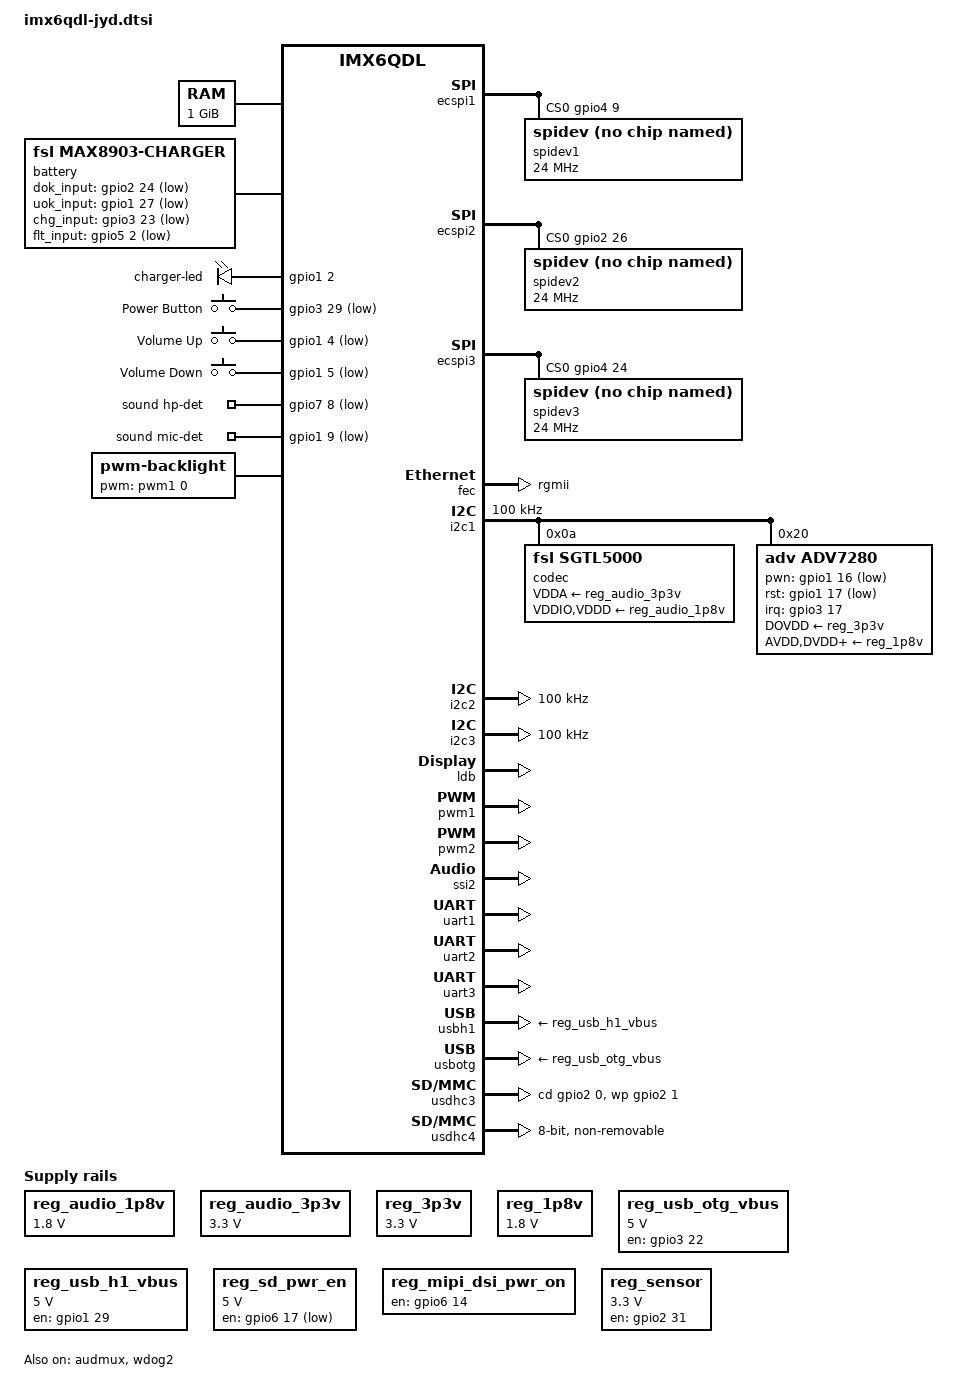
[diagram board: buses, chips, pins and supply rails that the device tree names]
/*
 * Copyright 2012 Freescale Semiconductor, Inc.
 * Copyright 2011 Linaro Ltd.
 *
 * The code contained herein is licensed under the GNU General Public
 * License. You may obtain a copy of the GNU General Public License
 * Version 2 or later at the following locations:
 *
 * http://www.opensource.org/licenses/gpl-license.html
 * http://www.gnu.org/copyleft/gpl.html
 */

/ {
	aliases {
		mxcfb0 = &mxcfb1;
		mxcfb1 = &mxcfb2;
		mxcfb2 = &mxcfb3;
		mxcfb3 = &mxcfb4;
	};

	memory {
		reg = <0x10000000 0x40000000>;
	};

	battery: max8903@0 {
		compatible = "fsl,max8903-charger";
		pinctrl-names = "default";
		dok_input = <&gpio2 24 1>;
		uok_input = <&gpio1 27 1>;
		chg_input = <&gpio3 23 1>;
		flt_input = <&gpio5 2 1>;
		fsl,dcm_always_high;
		fsl,dc_valid;
		fsl,usb_valid;
		status = "okay";
	};

	hannstar_cabc {
		compatible = "hannstar,cabc";

		lvds0 {
			gpios = <&gpio6 15 GPIO_ACTIVE_HIGH>;
		};

		lvds1 {
			gpios = <&gpio6 16 GPIO_ACTIVE_HIGH>;
		};
	};

	leds {
		compatible = "gpio-leds";

		charger-led {
			gpios = <&gpio1 2 0>;
			linux,default-trigger = "max8903-charger-charging";
			retain-state-suspended;
		};
	};

	regulators {
		compatible = "simple-bus";

		reg_audio_1p8v: sgtl5000_1p8v {
			compatible = "regulator-fixed";
			regulator-name = "audio_1P8V";
			regulator-min-microvolt = <1800000>;
			regulator-max-microvolt = <1800000>;
			regulator-always-on;
		};

		reg_audio_3p3v: sgtl5000_3p3v {
			compatible = "regulator-fixed";
			regulator-name = "audio_3P3V";
			regulator-min-microvolt = <3300000>;
			regulator-max-microvolt = <3300000>;
			regulator-always-on;
		};

		reg_3p3v: reg_3p3v {
			compatible = "regulator-fixed";
			regulator-name = "3P3V";
			regulator-min-microvolt = <3300000>;
			regulator-max-microvolt = <3300000>;
			regulator-always-on;
		};

		reg_1p8v: reg_1p8v {
			compatible = "regulator-fixed";
			regulator-name = "1P8V";
			regulator-min-microvolt = <1800000>;
			regulator-max-microvolt = <1800000>;
			regulator-always-on;
		};

		reg_usb_otg_vbus: usb_otg_vbus {
			compatible = "regulator-fixed";
			regulator-name = "usb_otg_vbus";
			regulator-min-microvolt = <5000000>;
			regulator-max-microvolt = <5000000>;		
			gpio = <&gpio3 22 0>;	/* USB_OTG_PWR_EN (EIM_DATA22) => GPIO3_IO22 */
			enable-active-high;
			regulator-boot-on;
			regulator-always-on;
		};

		reg_usb_h1_vbus: usb_h1_vbus {
			compatible = "regulator-fixed";
			regulator-name = "usb_h1_vbus";
			regulator-min-microvolt = <5000000>;
			regulator-max-microvolt = <5000000>;
			gpio = <&gpio1 29 0>;	/* USB_H1_PWR_EN (ENET_TX_DATA1) => GPIO1_IO29 */
			enable-active-high;
			regulator-boot-on;
			regulator-always-on;
		};

		reg_sd_pwr_en: sd_pwr_en {
			compatible = "regulator-fixed";
			regulator-name = "sd_pwr_en";
			regulator-min-microvolt = <5000000>;
			regulator-max-microvolt = <5000000>;
			gpio = <&gpio6 17 0>;	/* SD_PWR_EN (SD3_DATA7) => GPIO6_IO17 */
			enable-active-low;
			regulator-boot-on;
			regulator-always-on;
		};
#if 0
		reg_lcd_pwr_on: lcd_pwr_on {
			compatible = "regulator-fixed";
			regulator-name = "lcd_pwr_on";
			regulator-min-microvolt = <5000000>;
			regulator-max-microvolt = <5000000>;
			gpio = <&gpio1 30 0>;	/* DISP0_PWR_EN (ENET_TX_DATA0) => GPIO1_IO30 */
			enable-active-high;
			regulator-boot-on;
			regulator-always-on;
		};
#endif
		reg_mipi_dsi_pwr_on: mipi_dsi_pwr_on {
			compatible = "regulator-fixed";
			regulator-name = "mipi_dsi_pwr_on";
			gpio = <&gpio6 14 0>;
			enable-active-high;
		};

		reg_sensor: sensor_supply {
			compatible = "regulator-fixed";
			regulator-name = "sensor-supply";
			regulator-min-microvolt = <3300000>;
			regulator-max-microvolt = <3300000>;
			gpio = <&gpio2 31 0>;	/* SENSOR_PWR_EN (EIM_EB3) => GPIO2_IO31 */
			startup-delay-us = <500>;
			enable-active-high;
		};
		
	};

	/*reg_can_xcvr: regulator {
    		compatible = "regulator-fixed";
    		regulator-name = "CAN XCVR";
    		regulator-min-microvolt = <3300000>;
    		regulator-max-microvolt = <3300000>;
    		pinctrl-names = "default";
    		gpio = <&gpio4 5 GPIO_ACTIVE_HIGH>; 
		startup-delay-us = <500>;
    		enable-active-low;  
		};*/

#if 0
	userspace-consumer {
		compatible = "reg-userspace-consumer";

		regulator-name = "lcd-consumer"
		regulator-boot-on;
		regulator-supplies = "vdd";
		vdd-supply = <&reg_lcd_pwr_on>;
	};
#endif

	gpio-keys {
		compatible = "gpio-keys";
		power {
			label = "Power Button";
			gpios = <&gpio3 29 1>;
			linux,code = <116>; /* KEY_POWER */
			gpio-key,wakeup;
		};

		volume-up {
			label = "Volume Up";
			gpios = <&gpio1 4 1>;
			linux,code = <115>; /* KEY_VOLUMEUP */
		};

		volume-down {
			label = "Volume Down";
			gpios = <&gpio1 5 1>;
			linux,code = <114>; /* KEY_VOLUMEDOWN */
		};
	};

	sound {
		compatible = "fsl,imx6q-sabresd-sgtl5000",
			     "fsl,imx-audio-sgtl5000";
		model = "sgtl5000-audio";
		cpu-dai = <&ssi2>;
		audio-codec = <&codec>;
		audio-routing =
			"MIC_IN", "Mic Jack",
			"Mic Jack", "Mic Bias",
			"Headphone Jack", "HP_OUT";
		/* total 7 adumux port*/
		mux-int-port = <2>; 	/* SSI2 */
		mux-ext-port = <3>; 	/* AUD3, just see pinctrl of audmux */
		hp-det-gpios = <&gpio7 8 1>;	/* used, but not implemented */
		mic-det-gpios = <&gpio1 9 1>;	/* not used */
	};
/*
	sound-fm {
		compatible = "fsl,imx-audio-si476x",
			   "fsl,imx-tuner-si476x";
		model = "imx-radio-si4763";

		ssi-controller = <&ssi2>;
		fm-controller = <&si476x_codec>;
		mux-int-port = <2>;
		mux-ext-port = <5>;
	};
*/
	sound-hdmi {
		compatible = "fsl,imx6q-audio-hdmi",
			     "fsl,imx-audio-hdmi";
		model = "imx-audio-hdmi";
		hdmi-controller = <&hdmi_audio>;
	};

	mxcfb1: fb@0 {
		compatible = "fsl,mxc_sdc_fb";
		disp_dev = "ldb";
		interface_pix_fmt = "RGB666";
		default_bpp = <16>;
		int_clk = <0>;
		late_init = <0>;
		status = "disabled";
	};

	mxcfb2: fb@1 {
		compatible = "fsl,mxc_sdc_fb";
		disp_dev = "hdmi";
		interface_pix_fmt = "RGB24";
		mode_str ="1920x1080M@60";
		default_bpp = <24>;
		int_clk = <0>;
		late_init = <0>;
		status = "disabled";
	};

	mxcfb3: fb@2 {
		compatible = "fsl,mxc_sdc_fb";
		disp_dev = "lcd";
		interface_pix_fmt = "RGB565";
		mode_str ="CLAA-WVGA";
		default_bpp = <16>;
		int_clk = <0>;
		late_init = <0>;
		status = "disabled";
	};

	mxcfb4: fb@3 {
		compatible = "fsl,mxc_sdc_fb";
		disp_dev = "ldb";
		interface_pix_fmt = "RGB666";
		default_bpp = <16>;
		int_clk = <0>;
		late_init = <0>;
		status = "disabled";
	};

	backlight {
		compatible = "pwm-backlight";
		pwms = <&pwm1 0 5000000>;
#if 0
		brightness-levels = <0 4 8 16 32 64 128 255>;
		default-brightness-level = <7>;
#else
		brightness-levels-test= <0 4 8 16 32 48 64 96 128 192 255>;
		brightness-levels= <0 40 48 56 72 88 104 136 168 232 255>;
		default-brightness-level = <10>;
#endif
	};

	v4l2_cap_0 {
		compatible = "fsl,imx6q-v4l2-capture";
		ipu_id = <0>;
		csi_id = <0>;
		mclk_source = <0>;
		status = "okay";
	};

	v4l2_cap_1 {
		compatible = "fsl,imx6q-v4l2-capture";
		ipu_id = <0>;
		csi_id = <1>;
		mclk_source = <0>;
		status = "disabled"; /* okay */
	};

	v4l2_out {
		compatible = "fsl,mxc_v4l2_output";
		status = "okay";
	};

	mipi_dsi_reset: mipi-dsi-reset {
		compatible = "gpio-reset";
		reset-gpios = <&gpio6 11 GPIO_ACTIVE_LOW>;
		reset-delay-us = <50>;
		#reset-cells = <0>;
		status = "disabled";
	};
#if 0
	lcd_reset: lcd-reset {
		compatible = "gpio-reset";
		reset-gpios = <&gpio2 21 GPIO_ACTIVE_LOW>;
		reset-delay-us = <50>;
		#reset-cells = <0>;
		status = "okay";
	};

	rgmii_reset: rgmii-reset {
		compatible = "gpio-reset";
		reset-gpios = <&gpio1 25 GPIO_ACTIVE_LOW>;
		reset-delay-us = <50>;
		#reset-cells = <0>;
		status = "okay";
	};
#endif

};

&audmux {
	pinctrl-names = "default";
	pinctrl-0 = <&pinctrl_audmux_jyd>;	/*AUD3*/
	status = "okay";
};

&cpu0 {
	arm-supply = <&sw1a_reg>;
	soc-supply = <&sw1c_reg>;
	pu-supply = <&pu_dummy>; /* use pu_dummy if VDDSOC share with VDDPU */
};

&ecspi1 {
	fsl,spi-num-chipselects = <1>;
	cs-gpios = <&gpio4 9 0>;	/* KEY_ROW1 */
	pinctrl-names = "default";
	pinctrl-0 = <&pinctrl_ecspi1_jyd>;
	status = "okay";
#if 0
	flash: m25p80@0 {
		#address-cells = <1>;
		#size-cells = <1>;
		compatible = "st,m25p32";
		spi-max-frequency = <20000000>;
		reg = <0>;
	};
#endif

	spidev1: spidev@1 {
		spi-max-frequency = <24000000>;
		reg = <0>;
		compatible = "rohm,dh2228fv";
	};
};

&ecspi2 {
	fsl,spi-num-chipselects = <1>;
	/* cs-gpios = <&gpio4 26 0>; */ /* DISP0_DATA5 */
	cs-gpios = <&gpio2 26 0>; /* EIM_RW */
	pinctrl-names = "default";
	pinctrl-0 = <&pinctrl_ecspi2_jyd>;
	status = "okay";

	spidev2: spidev@2 {
		spi-max-frequency = <24000000>;
		reg = <0>;
		compatible = "rohm,dh2228fv";
	};
};

&ecspi3 {
	fsl,spi-num-chipselects = <1>;
	cs-gpios = <&gpio4 24 0>; /* DISP0_DATA3 */
	pinctrl-names = "default";
	pinctrl-0 = <&pinctrl_ecspi3_jyd>;
	status = "okay";

	spidev3: spidev@3 {
		spi-max-frequency = <24000000>;
		reg = <0>;
		compatible = "rohm,dh2228fv";
	};
};

&fec {
	pinctrl-names = "default";
	pinctrl-0 = <&pinctrl_enet_jyd>;
	phy-mode = "rgmii";
	status = "okay";
};

&gpc {
	fsl,cpu_pupscr_sw2iso = <0xf>;
	fsl,cpu_pupscr_sw = <0xf>;
	fsl,cpu_pdnscr_iso2sw = <0x1>;
	fsl,cpu_pdnscr_iso = <0x1>;
	fsl,ldo-bypass = <1>; /* use ldo-bypass, u-boot will check it and configure */
	fsl,wdog-reset = <2>; /* watchdog select of reset source */
	pu-supply = <&pu_dummy>; /* ldo-bypass:use pu_dummy if VDDSOC share with VDDPU */
};

&wdog1 {
	status = "disabled";
};

&wdog2 {
	status = "okay";
};

&gpu {
	pu-supply = <&pu_dummy>; /* ldo-bypass:use pu_dummy if VDDSOC share with VDDPU */
};

&hdmi_audio {
	status = "disable";
};

&hdmi_cec {
	pinctrl-names = "default";
	pinctrl-0 = <&pinctrl_hdmi_cec_2>;
	status = "disable";
};

&hdmi_core {
	ipu_id = <0>;
	disp_id = <0>;
	status = "disable";
};

&hdmi_video {
	fsl,phy_reg_vlev = <0x0294>;
	fsl,phy_reg_cksymtx = <0x800d>;
	status = "disable";
};

&i2c1 {
	clock-frequency = <100000>;
	pinctrl-names = "default";
	pinctrl-0 = <&pinctrl_i2c1_jyd>;
	status = "okay";

	/*I2C addr=0n01010 (n=CTRL_ADR0_CS)*/
	codec: sgtl5000@0a {
		compatible = "fsl,sgtl5000";
		reg = <0x0a>;
		clocks = <&clks 201>;
		VDDA-supply = <&reg_audio_3p3v>; /*GEN_3V3*/
		VDDIO-supply = <&reg_audio_1p8v>; /*VGEN4_1V8*/
		VDDD-supply = <&reg_audio_1p8v>; /*VGEN4_1V8*/
	};

	/*I2C addr => ALSB=low(0x40) ALSB=high(0x41)*/
	adv7280: adv7280@20 {
		compatible = "adv,adv7280";
		reg = <0x20>;
		pinctrl-names = "default";
		pinctrl-0 = <&pinctrl_ipu1_jyd>;
		clocks = <&clks 201>;
		clock-names = "csi_mclk";
		DOVDD-supply = <&reg_3p3v>; /* 3.3v, enabled via 2.8 VGEN6 */
		AVDD-supply = <&reg_1p8v>;  /* 1.8v */
		DVDD-supply = <&reg_1p8v>;  /* 1.8v */
		PVDD-supply = <&reg_1p8v>;  /* 1.8v */
		/*pwn-gpios = <&max7310_b 2 0>;*/		
		pwn-gpios = <&gpio1 16 1>;  	/* CSI0_PWN (SD1_DATA0) => GPIO1_IO16 */
		rst-gpios = <&gpio1 17 1>;		/* CSI0_RST_B(SD1_DATA1)=> GPIO1_IO17 */
		csi_id = <0>;
		mclk = <24000000>;
		mclk_source = <0>;
		cvbs = <1>;
		interrupt-parent = <&gpio3>;	/* AVIN_INT (EIM_DATA17) => GPIO3_IO17 */
		interrupts = <17 8>;		/* need fixed */
		interrupt-route = <1>;
	};
};

&i2c2 {
	clock-frequency = <100000>;
	pinctrl-names = "default";
	pinctrl-0 = <&pinctrl_i2c2_jyd>;
	status = "okay";
};

&i2c3 {
	clock-frequency = <100000>;
	pinctrl-names = "default";
	pinctrl-0 = <&pinctrl_i2c3_jyd>;
	status = "okay";
};

&iomuxc {
	pinctrl-names = "default";
	pinctrl-0 = <&pinctrl_hog_2>;
	hog {
		/*
		???GPIO18__				:	PMIC_INT_B
		ENET_CRS_DV	GPIO1_IO25	:	RGMII_nRST
		GPIO00	CCM_CLKO1		:	GPIO_0_CLKO => SGTL5000_MCLK
		GPIO01	WDOG2_B			:	WDOG_B
		SD1_DATA0	GPIO1_IO16	:	CSI0_PWN
		SD1_DATA1	GPIO1_IO17	:	CSI0_RST_B
		EIM_DATA17	GPIO3_IO17	:	AVIN_INT
		EIM_DATA29	GPIO3_IO29	:	PWR_BTN_SNS
		ENET_RX_DATA0	GPIO1_IO27		:	UOK_B		
		ENET_RX_DATA1	GPIO1_IO26		:	RGMII_INT
		ENET_TX_DATA0	GPIO1_IO30		:	DISP0_PWR_EN	
		ENET_TX_DATA1	GPIO1_IO29		:	USB_H1_PWR_EN
		ENET_TX_EN		GPIO1_IO28		:	ETH_WOL_INT
		EIM_ADDR17 	GPIO2_IO21	: 	LCD_RST#
		*/
		/*
			MX6QDL_PAD_GPIO_0__CCM_CLKO1	0x130b0
			MX6QDL_PAD_GPIO_0__CCM_CLKO1	0x80000000
		*/
		pinctrl_hog_2: hoggrp-2 {
			fsl,pins = <
				MX6QDL_PAD_ENET_CRS_DV__GPIO1_IO25 0xC0000000
				MX6QDL_PAD_GPIO_0__CCM_CLKO1	0x80000000
				MX6QDL_PAD_GPIO_1__WDOG2_B	0xC0000000
				MX6QDL_PAD_SD1_DAT0__GPIO1_IO16	0xC0000000
				MX6QDL_PAD_SD1_DAT1__GPIO1_IO17	0xC0000000
				MX6QDL_PAD_EIM_D17__GPIO3_IO17	0xC0000000
				MX6QDL_PAD_EIM_D29__GPIO3_IO29	0xC0000000
				MX6QDL_PAD_ENET_RXD0__GPIO1_IO27	0xC0000000
				MX6QDL_PAD_ENET_RXD1__GPIO1_IO26	0xC0000000
				MX6QDL_PAD_ENET_TXD0__GPIO1_IO30	0xC0000000
				MX6QDL_PAD_ENET_TXD1__GPIO1_IO29	0xC0000000
				MX6QDL_PAD_ENET_TX_EN__GPIO1_IO28	0xC0000000
				MX6QDL_PAD_EIM_A17__GPIO2_IO21				0xC0000000
				MX6QDL_PAD_SD2_CLK__GPIO1_IO10	  0xC0000000
				MX6QDL_PAD_SD2_CMD__GPIO1_IO11	  0xC0000000
				MX6QDL_PAD_NANDF_CS0__GPIO6_IO11  0xC0000000
				MX6QDL_PAD_NANDF_CS2__GPIO6_IO15  0xC0000000
				MX6QDL_PAD_NANDF_D2__GPIO2_IO02 0xC0000000
				MX6QDL_PAD_NANDF_D3__GPIO2_IO03 0xC0000000
				MX6QDL_PAD_NANDF_D4__GPIO2_IO04 0xC0000000
				MX6QDL_PAD_NANDF_D5__GPIO2_IO05 0xC0000000
				MX6QDL_PAD_NANDF_D7__GPIO2_IO07 0xC0000000
				MX6QDL_PAD_NANDF_RB0__GPIO6_IO10  0xC0000000
				MX6QDL_PAD_DI0_PIN2__GPIO4_IO18 0xC0000000
				MX6QDL_PAD_DI0_PIN3__GPIO4_IO19 0xC0000000
				MX6QDL_PAD_DI0_PIN4__GPIO4_IO20 0xC0000000
				MX6QDL_PAD_DI0_PIN15__GPIO4_IO17 0xC0000000
				MX6QDL_PAD_DISP0_DAT4__GPIO4_IO25 0xC0000000
				MX6QDL_PAD_DISP0_DAT5__GPIO4_IO26 0xC0000000
				MX6QDL_PAD_DISP0_DAT6__GPIO4_IO27 0xC0000000
				MX6QDL_PAD_DISP0_DAT7__GPIO4_IO28 0xC0000000
				MX6QDL_PAD_DISP0_DAT10__GPIO4_IO31 0xC0000000
				MX6QDL_PAD_DISP0_DAT11__GPIO5_IO05 0xC0000000
				MX6QDL_PAD_DISP0_DAT12__GPIO5_IO06 0xC0000000
				MX6QDL_PAD_DISP0_DAT13__GPIO5_IO07 0xC0000000
				MX6QDL_PAD_DISP0_DAT15__GPIO5_IO09 0xC0000000
				MX6QDL_PAD_DISP0_DAT16__GPIO5_IO10 0xC0000000
				MX6QDL_PAD_DISP0_DAT17__GPIO5_IO11 0xC0000000
				MX6QDL_PAD_DISP0_DAT18__GPIO5_IO12 0xC0000000
				MX6QDL_PAD_DISP0_DAT19__GPIO5_IO13 0xC0000000
				MX6QDL_PAD_DISP0_DAT20__GPIO5_IO14 0xC0000000
				MX6QDL_PAD_DISP0_DAT22__GPIO5_IO16 0xC0000000
			>;
		};

/*
		MX6QDL_PAD_EIM_EB3__GPIO2_IO31 0x80000000

		MX6QDL_PAD_SD3_DAT7__GPIO6_IO17 0xC0000000
		MX6QDL_PAD_ENET_TXD1__GPIO1_IO29 0x80000000
*/
		pinctrl_hog_3: hoggrp-3 {
			fsl,pins = <
				MX6QDL_PAD_SD3_DAT7__SD3_DATA7 0x17059
				MX6QDL_PAD_EIM_A19__GPIO2_IO19 0xC0000000
				MX6QDL_PAD_EIM_EB3__GPIO2_IO31 0xC0000000
				MX6QDL_PAD_EIM_D17__GPIO3_IO17 0xC0000000
				MX6QDL_PAD_EIM_A21__GPIO2_IO17 0xC0000000
				MX6QDL_PAD_EIM_A22__GPIO2_IO16 0xC0000000
				MX6QDL_PAD_EIM_A23__GPIO6_IO06 0xC0000000
				MX6QDL_PAD_SD1_DAT0__GPIO1_IO16 0xC0000000
				MX6QDL_PAD_SD1_DAT1__GPIO1_IO17 0xC0000000
				MX6QDL_PAD_EIM_D18__GPIO3_IO18 0xC0000000
				MX6QDL_PAD_EIM_EB0__GPIO2_IO28 0xC0000000
				MX6QDL_PAD_EIM_DA0__GPIO3_IO00 0xC0000000
				MX6QDL_PAD_EIM_A24__GPIO5_IO04 0x1b0b1
			>;
		};

		/*
		MX6QDL_PAD_ENET_RXD0__GPIO1_IO27 : UOK_B
		MX6QDL_PAD_ENET_TXD1__GPIO1_IO29 : USB_H1_PWR_EN
		*/
		pinctrl_hog_1: hoggrp-1 {
			fsl,pins = <
				MX6QDL_PAD_GPIO_4__GPIO1_IO04   0x80000000
				MX6QDL_PAD_GPIO_5__GPIO1_IO05   0x80000000
				MX6QDL_PAD_NANDF_D0__GPIO2_IO00 0x80000000
				MX6QDL_PAD_NANDF_D1__GPIO2_IO01 0x80000000
				MX6QDL_PAD_NANDF_D2__GPIO2_IO02 0x80000000
				MX6QDL_PAD_NANDF_D3__GPIO2_IO03 0x80000000
				MX6QDL_PAD_NANDF_ALE__GPIO6_IO08 0x80000000
				MX6QDL_PAD_NANDF_CLE__GPIO6_IO07 0x80000000
				MX6QDL_PAD_GPIO_0__CCM_CLKO1    0x130b0
				MX6QDL_PAD_NANDF_CS2__GPIO6_IO15 0x80000000
				MX6QDL_PAD_NANDF_CS3__GPIO6_IO16 0x80000000
				MX6QDL_PAD_EIM_D26__GPIO3_IO26 0x80000000
				MX6QDL_PAD_EIM_CS1__GPIO2_IO24 0x80000000
				MX6QDL_PAD_ENET_RXD0__GPIO1_IO27 0x80000000
				MX6QDL_PAD_EIM_A25__GPIO5_IO02 0x80000000
				MX6QDL_PAD_EIM_D23__GPIO3_IO23 0x80000000
				MX6QDL_PAD_ENET_TXD1__GPIO1_IO29 0x80000000
				MX6QDL_PAD_EIM_D22__GPIO3_IO22  0x80000000
				MX6QDL_PAD_NANDF_CS0__GPIO6_IO11 0x80000000
				MX6QDL_PAD_NANDF_CS1__GPIO6_IO14 0x80000000
				MX6QDL_PAD_EIM_D16__GPIO3_IO16 0x80000000
				MX6QDL_PAD_EIM_DA9__GPIO3_IO09 0x80000000
				MX6QDL_PAD_GPIO_4__GPIO1_IO04 0x80000000
				MX6QDL_PAD_GPIO_5__GPIO1_IO05 0x80000000
				MX6QDL_PAD_EIM_D29__GPIO3_IO29 0x80000000
				MX6QDL_PAD_SD3_RST__GPIO7_IO08 0x80000000
				MX6QDL_PAD_GPIO_9__GPIO1_IO09 0x80000000
				MX6QDL_PAD_GPIO_1__WDOG2_B 0x80000000
				MX6QDL_PAD_GPIO_2__GPIO1_IO02 0x80000000
				MX6QDL_PAD_SD1_CMD__GPIO1_IO18 0x80000000
			>;
		};
	};
};

&ldb {
	status = "okay";

	lvds-channel@0 {
		fsl,data-mapping = "spwg";
		fsl,data-width = <18>;
		status = "okay";

		display-timings {
			native-mode = <&timing0>;
			timing0: hsd100pxn1 {
				clock-frequency = <65000000>;
				hactive = <1024>;
				vactive = <768>;
				hback-porch = <220>;
				hfront-porch = <40>;
				vback-porch = <21>;
				vfront-porch = <7>;
				hsync-len = <60>;
				vsync-len = <10>;
			};
		};
	};

	lvds-channel@1 {
		fsl,data-mapping = "spwg";
		fsl,data-width = <18>;
		primary;
		status = "okay";

		display-timings {
			native-mode = <&timing1>;
			timing1: hsd100pxn1 {
				clock-frequency = <65000000>;
				hactive = <1024>;
				vactive = <768>;
				hback-porch = <220>;
				hfront-porch = <40>;
				vback-porch = <21>;
				vfront-porch = <7>;
				hsync-len = <60>;
				vsync-len = <10>;
			};
		};
	};
};

&mipi_csi {
	status = "disabled"; /* okay */
	ipu_id = <0>;
	csi_id = <1>;
	v_channel = <0>;
	lanes = <2>;
};

&mipi_dsi {
	dev_id = <0>;
	disp_id = <1>;
	lcd_panel = "TRULY-WVGA";
	disp-power-on-supply = <&reg_mipi_dsi_pwr_on>;
	resets = <&mipi_dsi_reset>;
	status = "disabled";	/* okay */
};

&dcic1 {
	dcic_id = <0>;
	dcic_mux = "dcic-hdmi";
	status = "disabled";	/* okay */
};

&dcic2 {
	dcic_id = <1>;
	dcic_mux = "dcic-lvds1";
	status = "disabled";	/* okay */
};

&pcie {
	power-on-gpio = <&gpio3 19 0>;
	reset-gpio = <&gpio7 12 0>;
	status = "disabled";
};

&pwm1 {
	pinctrl-names = "default";
	pinctrl-0 = <&pinctrl_pwm1_jyd>;
	status = "okay";
};

&pwm2 {
	pinctrl-names = "default";
	pinctrl-0 = <&pinctrl_pwm2_jyd>;
	status = "okay";
};

&ssi2 {
	fsl,mode = "i2s-slave";
	status = "okay";
};

&uart1 {
	pinctrl-names = "default";
	pinctrl-0 = <&pinctrl_uart1_jyd>;
	status = "okay";
};

&uart2 {
	pinctrl-names = "default";
	pinctrl-0 = <&pinctrl_uart2_jyd>;
	status = "okay";
};

&uart3 {
	pinctrl-names = "default";
	pinctrl-0 = <&pinctrl_uart3_jyd>;
	status = "ok";
};

&usbh1 {
	vbus-supply = <&reg_usb_h1_vbus>;
	status = "okay";
};

&usbh2 {
	status = "disabled";
};

&usbh3 {
	status = "disabled";
};

#if 1
&usbotg {
	/*dr_mode = "peripheral";*/
	vbus-supply = <&reg_usb_otg_vbus>;
	pinctrl-names = "default";
	pinctrl-0 = <&pinctrl_usbotg_jyd>; 
	disable-over-current;
	status = "okay";
};
#else
&usbotg {
	pinctrl-names = "default";
	pinctrl-0 = <&pinctrl_usbotg_jyd_1>; 
	disable-over-current;
	status = "okay";
};	
#endif

&usdhc1 {
	pinctrl-names = "default";
	pinctrl-0 = <&pinctrl_usdhc1_def>;
	status = "disabled";
};

&usdhc2 {
	pinctrl-names = "default";
	pinctrl-0 = <&pinctrl_usdhc2_def>;
	status = "disabled";
};

&usdhc3 {
	pinctrl-names = "default";
	pinctrl-0 = <&pinctrl_usdhc3_jyd>;
	cd-gpios = <&gpio2 0 0>;			/*SD3_CD_B	: GPIO2_00 */
	wp-gpios = <&gpio2 1 0>;			/*SD3_WP	: GPIO2_01 */
	no-1-8-v;
	keep-power-in-suspend;
	enable-sdio-wakeup;
	status = "okay";
};

&usdhc4 {
	pinctrl-names = "default";
	pinctrl-0 = <&pinctrl_usdhc4_jyd>;
	bus-width = <8>;
	non-removable;
	no-1-8-v;
	keep-power-in-suspend;
	status = "okay";
};

&vpu {
	pu-supply = <&pu_dummy>; /* ldo-bypass:use pu_dummy if VDDSOC share with VDDPU */
};
